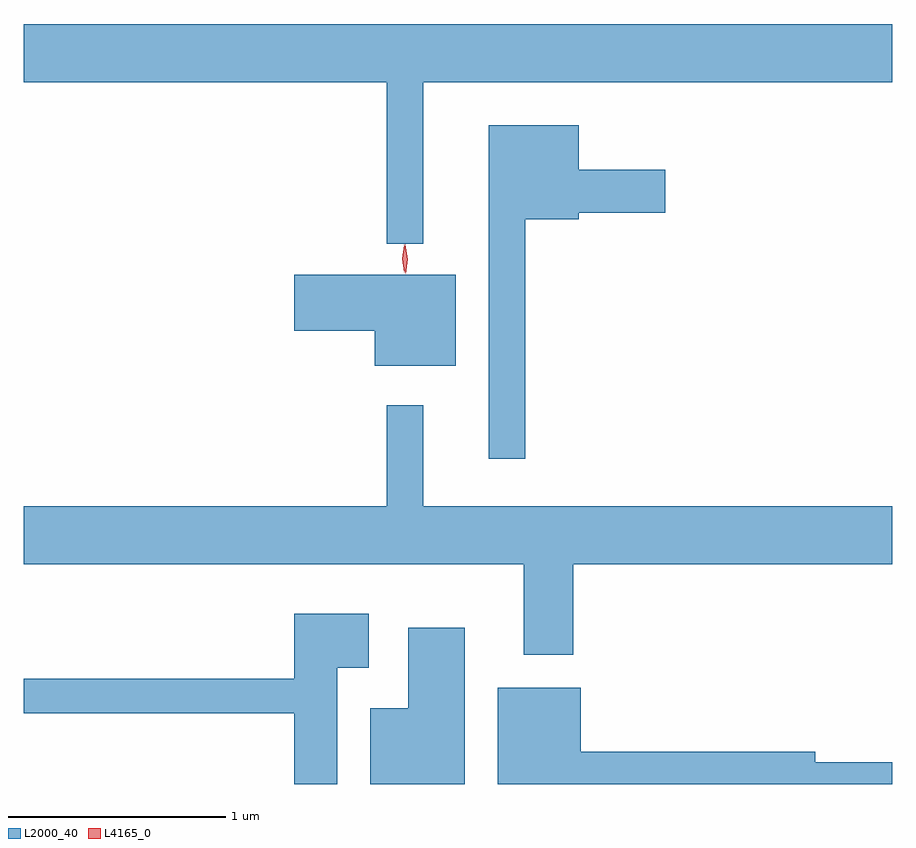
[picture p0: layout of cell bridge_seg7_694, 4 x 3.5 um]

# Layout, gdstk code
import gdstk
lib = gdstk.Library(unit=1e-6, precision=1e-09)
def P(c, l, *ps):  # polygons
    for p in ps: c.add(gdstk.Polygon(p, *l))
L2000_40 = (2000, 40)
L4165_0 = (4165, 0)

bridge_seg7_694 = lib.new_cell('bridge_seg7_694')
P(bridge_seg7_694, L2000_40, [(903.719,1732.076),(905.879,1732.076),(905.879,1732.344),(901.879,1732.344),(901.879,1732.076),(903.551,1732.076),(903.551,1731.333),(903.719,1731.333)],
  [(904.189,1731.446),(904.434,1731.446),(904.434,1731.476),(904.834,1731.476),(904.834,1731.674),(904.434,1731.674),(904.434,1731.879),(904.021,1731.879),(904.021,1730.343),(904.189,1730.343)],
  [(903.869,1731.189),(903.126,1731.189),(903.126,1730.931),(903.496,1730.931),(903.496,1730.771),(903.869,1730.771)],
  [(904.409,1729.856),(905.879,1729.856),(905.879,1730.124),(903.719,1730.124),(903.719,1730.588),(903.551,1730.588),(903.551,1730.124),(901.879,1730.124),(901.879,1729.856),(904.181,1729.856),(904.181,1729.441),(904.409,1729.441)],
  [(903.324,1729.381),(903.469,1729.381),(903.469,1729.629),(903.126,1729.629),(903.126,1729.329),(901.879,1729.329),(901.879,1729.171),(903.126,1729.171),(903.126,1728.845),(903.324,1728.845)],
  [(903.909,1729.564),(903.651,1729.564),(903.651,1729.194),(903.476,1729.194),(903.476,1728.845),(903.909,1728.845)],
  [(905.879,1728.944),(905.524,1728.944),(905.524,1728.994),(904.444,1728.994),(904.444,1729.289),(904.061,1729.289),(904.061,1728.845),(905.879,1728.845)])
P(bridge_seg7_694, L4165_0, [(903.638,1731.194),(903.638,1731.194),(903.628,1731.262),(903.636,1731.33),(903.637,1731.33),(903.637,1731.33),(903.647,1731.262),(903.638,1731.194)],
  [(903.632,1731.2),(903.632,1731.2),(903.622,1731.263),(903.632,1731.326),(903.632,1731.327),(903.632,1731.326),(903.642,1731.263),(903.632,1731.2)])

lib.write_gds('bridge_seg7_694.gds')
